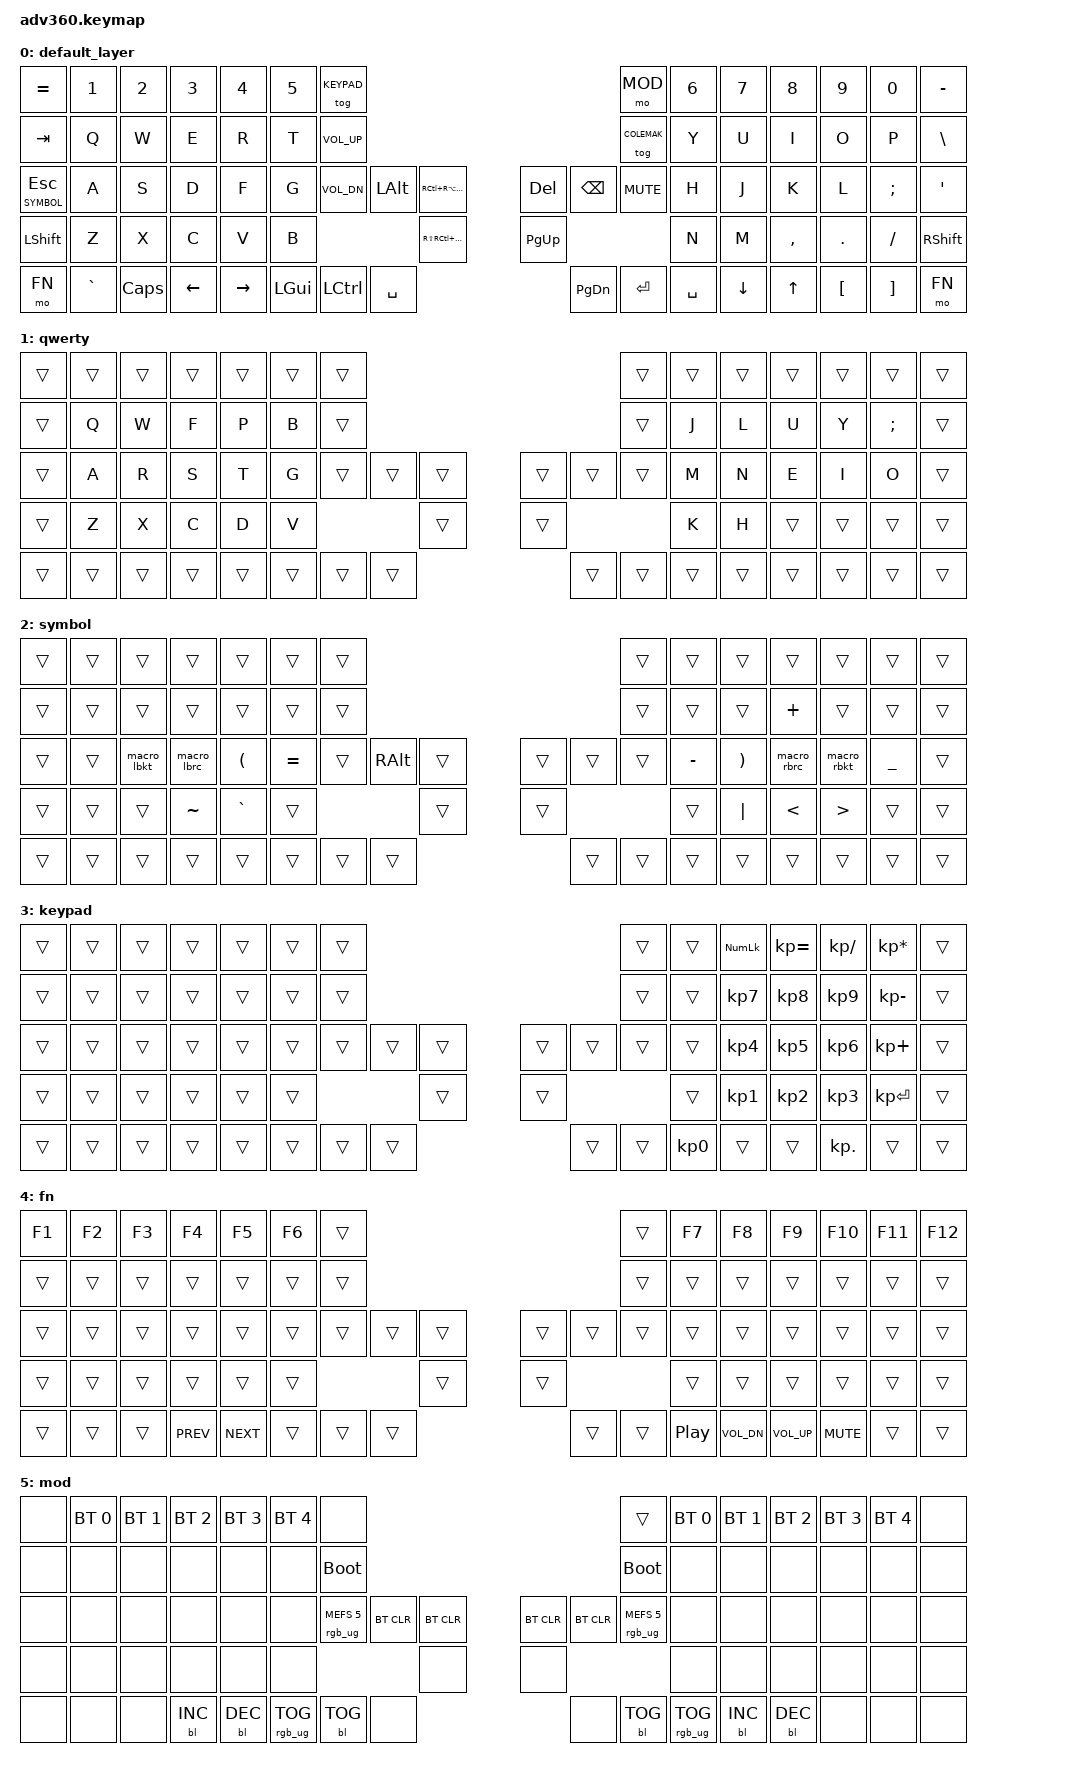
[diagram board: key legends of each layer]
#include <behaviors.dtsi>
#include <dt-bindings/zmk/keys.h>
#include <dt-bindings/zmk/bt.h>
#include <dt-bindings/zmk/rgb.h>
#include <dt-bindings/zmk/backlight.h>

#define DEFAULT 0
#define COLEMAK 1
#define SYMBOL  2
#define KEYPAD  3
#define FN      4
#define MOD     5

/ {
    behaviors {
      #include "macros.dtsi"

      st: symbol_tap {
          compatible = "zmk,behavior-hold-tap";
          #binding-cells = <2>;
          flavor = "hold-preferred";
          tapping-term-ms = <300>;
          bindings = <&mo>, <&kp>;
          // This must be updated if a new key is added to the symbol layer.
          // This ensures that any other key pressed triggers the tap behavior,
          // rather than the hold behavior. - Aaron, Thu May 23 2024
          hold-trigger-key-positions = <24 30 31 32 33 40 41 42 43 44 49 50 55 56 57 59>;
      };
    };

    keymap {
      compatible = "zmk,keymap";

    default_layer {
      bindings = <
//      0              1         2        3        4         5      6                                                                          8            9      10       11        12       12       13
        &kp EQUAL      &kp N1    &kp N2   &kp N3   &kp N4    &kp N5 &tog KEYPAD                                                                &mo MOD      &kp N6 &kp N7   &kp N8    &kp N9   &kp N0   &kp MINUS
//      14             15        16       17       18        19     20                                                                         21           22     23       24        25       26       27
        &kp TAB        &kp Q     &kp W    &kp E    &kp R     &kp T  &kp C_VOL_UP                                                               &tog COLEMAK &kp Y  &kp U    &kp I     &kp O    &kp P    &kp BSLH
//      28             29        30       31       32        33     34              35        36                   37        38                39           40     41       42        43       44       45
        &st SYMBOL ESC &kp A     &kp S    &kp D    &kp F     &kp G  &kp C_VOL_DN    &kp LALT  &kp RC(RA(RGUI))     &kp DEL   &kp BSPC          &kp C_MUTE   &kp H  &kp J    &kp K     &kp L    &kp SEMI &kp SQT
//      46             47        48       49       50        51                               52                   53                                       54     55       56        57       58       59
        &kp LSHFT      &kp Z     &kp X    &kp C    &kp V     &kp B                            &kp RS(RC(RA(RGUI))) &kp PG_UP                                &kp N  &kp M    &kp COMMA &kp DOT  &kp FSLH &kp RSHFT
//      60             61        62       63       64                      65       66        67                   68        69      70                            71       72        73       74       75
        &mo FN         &kp GRAVE &kp CAPS &kp LEFT &kp RIGHT               &kp LGUI &kp LCTRL &kp SPACE            &kp PG_DN &kp RET &kp SPACE                     &kp DOWN &kp UP    &kp LBKT &kp RBKT &mo FN
      >;
    };

    qwerty {
      bindings = <
        &trans &trans &trans &trans &trans &trans &trans                                           &trans &trans &trans &trans &trans &trans   &trans
        &trans &kp Q  &kp W  &kp F  &kp P  &kp B  &trans                                           &trans &kp J  &kp L  &kp U  &kp Y  &kp SEMI &trans
        &trans &kp A  &kp R  &kp S  &kp T  &kp G  &trans        &trans &trans &trans &trans        &trans &kp M  &kp N  &kp E  &kp I  &kp O    &trans
        &trans &kp Z  &kp X  &kp C  &kp D  &kp V                       &trans &trans                      &kp K  &kp H  &trans &trans &trans   &trans
        &trans &trans &trans &trans &trans               &trans &trans &trans &trans &trans &trans               &trans &trans &trans &trans   &trans
      >;
    };

    symbol {
      bindings = <
        &trans &trans &trans      &trans      &trans    &trans    &trans                                             &trans &trans    &trans   &trans      &trans      &trans    &trans
        &trans &trans &trans      &trans      &trans    &trans    &trans                                             &trans &trans    &trans   &kp PLUS    &trans      &trans    &trans
        &trans &trans &macro_lbkt &macro_lbrc &kp LPAR  &kp EQUAL &trans        &kp RALT &trans &trans &trans        &trans &kp MINUS &kp RPAR &macro_rbrc &macro_rbkt &kp UNDER &trans
        &trans &trans &trans      &kp TILDE   &kp GRAVE &trans                           &trans &trans                      &trans    &kp PIPE &kp LT      &kp GT      &trans    &trans
        &trans &trans &trans      &trans      &trans                     &trans &trans   &trans &trans &trans &trans                  &trans   &trans      &trans      &trans    &trans
      >;
    };

    keypad {
      bindings = <
        &trans &trans &trans &trans &trans &trans &trans                                              &trans &trans &kp KP_NUM &kp KP_EQUAL &kp KP_DIVIDE &kp KP_MULTIPLY &trans
        &trans &trans &trans &trans &trans &trans &trans                                              &trans &trans &kp KP_N7  &kp KP_N8    &kp KP_N9     &kp KP_MINUS    &trans
        &trans &trans &trans &trans &trans &trans &trans        &trans &trans &trans &trans           &trans &trans &kp KP_N4  &kp KP_N5    &kp KP_N6     &kp KP_PLUS     &trans
        &trans &trans &trans &trans &trans &trans                      &trans &trans                         &trans &kp KP_N1  &kp KP_N2    &kp KP_N3     &kp KP_ENTER    &trans
        &trans &trans &trans &trans &trans               &trans &trans &trans &trans &trans &kp KP_N0               &trans     &trans       &kp KP_DOT    &trans          &trans
      >;
    };

    fn {
      bindings = <
        &kp F1 &kp F2 &kp F3 &kp F4     &kp F5     &kp F6 &trans                                                     &trans &kp F7 &kp F8       &kp F9       &kp F10    &kp F11 &kp F12
        &trans &trans &trans &trans     &trans     &trans &trans                                                     &trans &trans &trans       &trans       &trans     &trans  &trans
        &trans &trans &trans &trans     &trans     &trans &trans        &trans &trans &trans &trans                  &trans &trans &trans       &trans       &trans     &trans  &trans
        &trans &trans &trans &trans     &trans     &trans                      &trans &trans                                &trans &trans       &trans       &trans     &trans  &trans
        &trans &trans &trans &kp C_PREV &kp C_NEXT               &trans &trans &trans &trans &trans &kp C_PLAY_PAUSE               &kp C_VOL_DN &kp C_VOL_UP &kp C_MUTE &trans  &trans
      >;
    };

    mod {
      bindings = <
        &none &bt BT_SEL 0 &bt BT_SEL 1 &bt BT_SEL 2 &bt BT_SEL 3 &bt BT_SEL 4 &none                                                                                              &trans                 &bt BT_SEL 0 &bt BT_SEL 1 &bt BT_SEL 2 &bt BT_SEL 3 &bt BT_SEL 4 &none
        &none &none        &none        &none        &none        &none        &bootloader                                                                                        &bootloader            &none        &none        &none        &none        &none        &none
        &none &none        &none        &none        &none        &none        &rgb_ug RGB_MEFS_CMD 5                 &bt BT_CLR &bt BT_CLR &bt BT_CLR &bt BT_CLR                 &rgb_ug RGB_MEFS_CMD 5 &none        &none        &none        &none        &none        &none
        &none &none        &none        &none        &none        &none                                                          &none      &none                                                        &none        &none        &none        &none        &none        &none
        &none &none        &none        &bl BL_INC   &bl BL_DEC                                       &rgb_ug RGB_TOG &bl BL_TOG &none      &none      &bl BL_TOG &rgb_ug RGB_TOG                                     &bl BL_INC   &bl BL_DEC   &none        &none        &none
      >;
    };
  };
};
